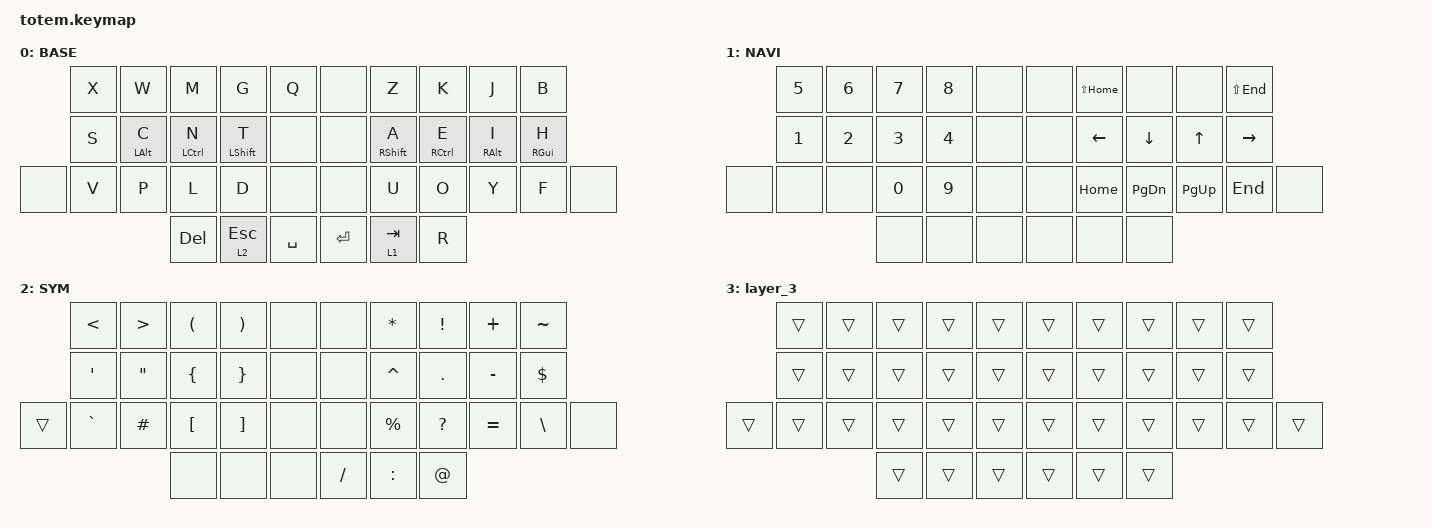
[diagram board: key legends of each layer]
//
//                                                        ▀▀▀▀▀     ▀▀▀▀▀          ▀▀█▀▀
//                                                        ▄▀▀▀▄  ▄  ▄▀▀▀▄  ▄  ▄▀▀▀▄  █  ▄▀▀▀▄
//                                                        █   █  █  █   █  █  █   █  █  █   █
//                                                         ▀▀▀   █   ▀▀▀   █   ▀▀▀   ▀   ▀▀▀
//                                                               █      ▄▄▄█▄▄▄    █   █  
//                                                               ▀      █  █  █     █▄█
//                                                             ▀▀▀▀▀    █  █  █      ▀
//                                                                      ▀  ▀  ▀
//
// ▄▄▄▄▄▄▄▄▄▄▄▄▄▄▄▄▄▄▄▄▄▄▄▄▄▄▄▄▄▄▄▄▄▄▄▄▄▄▄▄▄▄▄▄▄▄▄▄▄▄▄▄▄▄▄▄▄▄▄▄▄▄▄▄▄▄▄▄▄▄▄▄▄▄▄▄▄▄▄▄▄▄▄▄▄▄▄▄▄▄▄▄▄▄▄▄▄▄▄▄▄▄▄▄▄▄▄▄▄▄▄▄▄▄▄▄▄▄▄▄▄▄▄▄▄▄▄▄▄▄▄▄▄▄▄▄▄▄▄▄▄▄▄▄▄▄▄▄▄

#include <behaviors.dtsi>
#include <dt-bindings/zmk/keys.h>

#define BASE 0
#define NAV  1
#define SYM  2
#define ADJ  3
#define TVP1 4
#define TVP2 5

&mt {
    quick-tap-ms = <100>;
    global-quick-tap;
    flavor = "tap-preferred";
    tapping-term-ms = <170>;
};

/ {
    combos {
        compatible = "zmk,combos";

        combo_esc {
            timeout-ms = <50>;
            key-positions = <0 1>;
            bindings = <&kp ESC>;
        };

        combo_tvp {
            timeout-ms = <100>;
            key-positions = <11 12 13>;
            bindings = <&tog 0>;
        };
    };

    macros {
        gif: gif {
            label = "giphy";
            compatible = "zmk,behavior-macro";
            #binding-cells = <0>;
            bindings =
                <&macro_press>,
                <&kp LSHFT>,
                <&macro_tap>,
                <&kp N2>,
                <&macro_release>,
                <&kp LSHFT>,
                <&macro_tap>,
                <&kp G &kp I &kp F>;
        };
    };

    keymap {
        compatible = "zmk,keymap";

        // ▄▄▄▄▄▄▄▄▄▄▄▄▄▄▄▄▄▄▄▄▄▄▄▄▄▄▄▄▄▄▄▄▄▄▄▄▄▄▄▄▄▄▄▄▄▄▄▄▄▄▄▄▄▄▄▄▄▄▄▄▄▄▄▄▄▄▄▄▄▄▄▄▄▄▄▄▄▄▄▄▄▄▄▄▄▄▄▄▄▄▄▄▄▄▄▄▄▄▄▄▄▄▄▄▄▄▄▄▄▄▄▄▄▄▄▄▄▄▄▄▄▄▄▄▄▄▄▄▄▄▄▄▄▄▄▄▄▄▄▄▄▄▄▄▄▄▄▄▄

        base_layer {
            // ┏━━━━━━━━━━━━━━━━━━━━━━━━━━━━━━━━━━━━━━━┓

            label = "BASE";

            // ┗━━━━━━━━━━━━━━━━━━━━━━━━━━━━━━━━━━━━━━━┛
            //             ┏━━━━━━━━━━━┳━━━━━━━━━━━┳━━━━━━━━━━━┳━━━━━━━━━━━┳━━━━━━━━━━━┓   ┏━━━━━━━━━━━┳━━━━━━━━━━━┳━━━━━━━━━━━┳━━━━━━━━━━━┳━━━━━━━━━━━┓
            //             ┃     Q     ┃     W     ┃     F     ┃     P     ┃     G     ┃   ┃     J     ┃     L     ┃     U     ┃     Y     ┃     ;     ┃
            //             ┣━━━━━━━━━━━╋━━━━━━━━━━━╋━━━━━━━━━━━╋━━━━━━━━━━━╋━━━━━━━━━━━┫   ┣━━━━━━━━━━━╋━━━━━━━━━━━╋━━━━━━━━━━━╋━━━━━━━━━━━╋━━━━━━━━━━━┫
            //             ┃     A     ┃     R     ┃     S     ┃     T     ┃     D     ┃   ┃     H     ┃     N     ┃     E     ┃     I     ┃     O     ┃
            // ┏━━━━━━━━━━━╋━━━━━━━━━━━╋━━━━━━━━━━━╋━━━━━━━━━━━╋━━━━━━━━━━━╋━━━━━━━━━━━┫   ┣━━━━━━━━━━━╋━━━━━━━━━━━╋━━━━━━━━━━━╋━━━━━━━━━━━╋━━━━━━━━━━━╋━━━━━━━━━━━┓
            // ┃     Q     ┃     Z     ┃     X     ┃     C     ┃     V     ┃     B     ┃   ┃     K     ┃     M     ┃     ,     ┃     .     ┃     /     ┃     \     ┃
            // ┗━━━━━━━━━━━┻━━━━━━━━━━━┻━━━━━━━━━━━╋━━━━━━━━━━━╋━━━━━━━━━━━╋━━━━━━━━━━━┫   ┣━━━━━━━━━━━╋━━━━━━━━━━━╋━━━━━━━━━━━╋━━━━━━━━━━━┻━━━━━━━━━━━┻━━━━━━━━━━━┛
            //                                     ┃    DEL    ┃    TAB    ┃    SPC    ┃   ┃   ENTER   ┃           ┃   BSPC    ┃
            //                                     ┗━━━━━━━━━━━┻━━━━━━━━━━━┻━━━━━━━━━━━┛   ┗━━━━━━━━━━━┻━━━━━━━━━━━┻━━━━━━━━━━━┛

            bindings = <
       &kp X  &kp W       &kp M        &kp G        &kp Q        &none    &kp Z        &kp K        &kp J       &kp B
       &kp S  &mt LALT C  &mt LCTRL N  &mt LSHFT T  &none        &none    &mt RSHFT A  &mt RCTRL E  &mt RALT I  &mt RGUI H
&none  &kp V  &kp P       &kp L        &kp D        &none        &none    &kp U        &kp O        &kp Y       &kp F       &none
                          &kp DEL      &lt 2 ESC    &kp SPACE    &kp RET  &lt 1 TAB    &kp R
            >;
        };

        // ▄▄▄▄▄▄▄▄▄▄▄▄▄▄▄▄▄▄▄▄▄▄▄▄▄▄▄▄▄▄▄▄▄▄▄▄▄▄▄▄▄▄▄▄▄▄▄▄▄▄▄▄▄▄▄▄▄▄▄▄▄▄▄▄▄▄▄▄▄▄▄▄▄▄▄▄▄▄▄▄▄▄▄▄▄▄▄▄▄▄▄▄▄▄▄▄▄▄▄▄▄▄▄▄▄▄▄▄▄▄▄▄▄▄▄▄▄▄▄▄▄▄▄▄▄▄▄▄▄▄▄▄▄▄▄▄▄▄▄▄▄▄▄▄▄▄▄▄▄

        nav_layer {
            // ┏━━━━━━━━━━━━━━━━━━━━━━━━━━━━━━━━━━━━━━━┓

            label = "NAVI";

            // ┗━━━━━━━━━━━━━━━━━━━━━━━━━━━━━━━━━━━━━━━┛
            //             ┏━━━━━━━━━━━┳━━━━━━━━━━━┳━━━━━━━━━━━┳━━━━━━━━━━━┳━━━━━━━━━━━┓   ┏━━━━━━━━━━━┳━━━━━━━━━━━┳━━━━━━━━━━━┳━━━━━━━━━━━┳━━━━━━━━━━━┓
            //             ┃           ┃           ┃     UP    ┃           ┃     {     ┃   ┃     }     ┃     7     ┃     8     ┃     9     ┃     +     ┃
            //             ┣━━━━━━━━━━━╋━━━━━━━━━━━╋━━━━━━━━━━━╋━━━━━━━━━━━╋━━━━━━━━━━━┫   ┣━━━━━━━━━━━╋━━━━━━━━━━━╋━━━━━━━━━━━╋━━━━━━━━━━━╋━━━━━━━━━━━┫
            //             ┃   SHIFT   ┃   LEFT    ┃    DOWN   ┃   RIGHT   ┃     [     ┃   ┃     ]     ┃     4     ┃     5     ┃     6     ┃     -     ┃
            // ┏━━━━━━━━━━━╋━━━━━━━━━━━╋━━━━━━━━━━━╋━━━━━━━━━━━╋━━━━━━━━━━━╋━━━━━━━━━━━┫   ┣━━━━━━━━━━━╋━━━━━━━━━━━╋━━━━━━━━━━━╋━━━━━━━━━━━╋━━━━━━━━━━━╋━━━━━━━━━━━┓
            // ┃           ┃           ┃   P UP    ┃  C LOCK   ┃  P DOWN   ┃     (     ┃   ┃     )     ┃     1     ┃     2     ┃     3     ┃     *     ┃           ┃
            // ┗━━━━━━━━━━━┻━━━━━━━━━━━┻━━━━━━━━━━━╋━━━━━━━━━━━╋━━━━━━━━━━━╋━━━━━━━━━━━┫   ┣━━━━━━━━━━━╋━━━━━━━━━━━╋━━━━━━━━━━━╋━━━━━━━━━━━┻━━━━━━━━━━━┻━━━━━━━━━━━┛
            //                                     ┃           ┃    TAB    ┃    SPC    ┃   ┃    DEL    ┃     0     ┃           ┃
            //                                     ┗━━━━━━━━━━━┻━━━━━━━━━━━┻━━━━━━━━━━━┛   ┗━━━━━━━━━━━┻━━━━━━━━━━━┻━━━━━━━━━━━┛

            bindings = <
       &kp N5        &kp NUMBER_6  &kp N7        &kp N8        &none    &none  &kp LS(HOME)    &none          &none         &kp LS(END)
       &kp NUMBER_1  &kp NUMBER_2  &kp NUMBER_3  &kp NUMBER_4  &none    &none  &kp LEFT_ARROW  &kp DOWN       &kp UP_ARROW  &kp RIGHT
&none  &none         &none         &kp N0        &kp N9        &none    &none  &kp HOME        &kp PAGE_DOWN  &kp PAGE_UP   &kp END      &none
                                   &none         &none         &none    &none  &none           &none
            >;
        };

        // ▄▄▄▄▄▄▄▄▄▄▄▄▄▄▄▄▄▄▄▄▄▄▄▄▄▄▄▄▄▄▄▄▄▄▄▄▄▄▄▄▄▄▄▄▄▄▄▄▄▄▄▄▄▄▄▄▄▄▄▄▄▄▄▄▄▄▄▄▄▄▄▄▄▄▄▄▄▄▄▄▄▄▄▄▄▄▄▄▄▄▄▄▄▄▄▄▄▄▄▄▄▄▄▄▄▄▄▄▄▄▄▄▄▄▄▄▄▄▄▄▄▄▄▄▄▄▄▄▄▄▄▄▄▄▄▄▄▄▄▄▄▄▄▄▄▄▄▄▄

        sim_layer {
            // ┏━━━━━━━━━━━━━━━━━━━━━━━━━━━━━━━━━━━━━━━┓

            label = "SYM";

            // ┗━━━━━━━━━━━━━━━━━━━━━━━━━━━━━━━━━━━━━━━┛
            //             ┏━━━━━━━━━━━┳━━━━━━━━━━━┳━━━━━━━━━━━┳━━━━━━━━━━━┳━━━━━━━━━━━┓   ┏━━━━━━━━━━━┳━━━━━━━━━━━┳━━━━━━━━━━━┳━━━━━━━━━━━┳━━━━━━━━━━━┓
            //             ┃     !     ┃     @     ┃     #     ┃     $     ┃     %     ┃   ┃     ˆ     ┃     &     ┃     Ü     ┃     '     ┃     "     ┃
            //             ┣━━━━━━━━━━━╋━━━━━━━━━━━╋━━━━━━━━━━━╋━━━━━━━━━━━╋━━━━━━━━━━━┫   ┣━━━━━━━━━━━╋━━━━━━━━━━━╋━━━━━━━━━━━╋━━━━━━━━━━━╋━━━━━━━━━━━┫
            //             ┃     Ä     ┃           ┃    SZ     ┃           ┃           ┃   ┃   MUTE    ┃   YEN     ┃   EURO    ┃  POUND    ┃     Ö     ┃
            // ┏━━━━━━━━━━━╋━━━━━━━━━━━╋━━━━━━━━━━━╋━━━━━━━━━━━╋━━━━━━━━━━━╋━━━━━━━━━━━┫   ┣━━━━━━━━━━━╋━━━━━━━━━━━╋━━━━━━━━━━━╋━━━━━━━━━━━╋━━━━━━━━━━━╋━━━━━━━━━━━┓
            // ┃           ┃  EMAIL1   ┃  EMAIL2   ┃           ┃           ┃           ┃   ┃   VOL-    ┃   VOL+    ┃   LAST    ┃   NEXT    ┃     \     ┃           ┃
            // ┗━━━━━━━━━━━┻━━━━━━━━━━━┻━━━━━━━━━━━╋━━━━━━━━━━━╋━━━━━━━━━━━╋━━━━━━━━━━━┫   ┣━━━━━━━━━━━╋━━━━━━━━━━━╋━━━━━━━━━━━╋━━━━━━━━━━━┻━━━━━━━━━━━┻━━━━━━━━━━━┛
            //                                     ┃           ┃    GIF    ┃    ADJ    ┃   ┃           ┃           ┃           ┃
            //                                     ┗━━━━━━━━━━━┻━━━━━━━━━━━┻━━━━━━━━━━━┛   ┗━━━━━━━━━━━┻━━━━━━━━━━━┻━━━━━━━━━━━┛

            bindings = <
        &kp LESS_THAN     &kp GREATER_THAN   &kp LEFT_PARENTHESIS  &kp RIGHT_PARENTHESIS  &none    &none      &kp STAR     &kp EXCL      &kp PLUS   &kp TILDE
        &kp SINGLE_QUOTE  &kp DOUBLE_QUOTES  &kp LEFT_BRACE        &kp RIGHT_BRACE        &none    &none      &kp CARET    &kp PERIOD    &kp MINUS  &kp DOLLAR
&trans  &kp GRAVE         &kp HASH           &kp LEFT_BRACKET      &kp RIGHT_BRACKET      &none    &none      &kp PERCENT  &kp QUESTION  &kp EQUAL  &kp BSLH    &none
                                             &none                 &none                  &none    &kp SLASH  &kp COLON    &kp AT
            >;
        };

        layer_3 {
            bindings = <
        &trans  &trans  &trans  &trans  &trans    &trans  &trans  &trans  &trans  &trans
        &trans  &trans  &trans  &trans  &trans    &trans  &trans  &trans  &trans  &trans
&trans  &trans  &trans  &trans  &trans  &trans    &trans  &trans  &trans  &trans  &trans  &trans
                        &trans  &trans  &trans    &trans  &trans  &trans
            >;
        };

        // ▄▄▄▄▄▄▄▄▄▄▄▄▄▄▄▄▄▄▄▄▄▄▄▄▄▄▄▄▄▄▄▄▄▄▄▄▄▄▄▄▄▄▄▄▄▄▄▄▄▄▄▄▄▄▄▄▄▄▄▄▄▄▄▄▄▄▄▄▄▄▄▄▄▄▄▄▄▄▄▄▄▄▄▄▄▄▄▄▄▄▄▄▄▄▄▄▄▄▄▄▄▄▄▄▄▄▄▄▄▄▄▄▄▄▄▄▄▄▄▄▄▄▄▄▄▄▄▄▄▄▄▄▄▄▄▄▄▄▄▄▄▄▄▄▄▄▄▄▄
        // ▄▄▄▄▄▄▄▄▄▄▄▄▄▄▄▄▄▄▄▄▄▄▄▄▄▄▄▄▄▄▄▄▄▄▄▄▄▄▄▄▄▄▄▄▄▄▄▄▄▄▄▄▄▄▄▄▄▄▄▄▄▄▄▄▄▄▄▄▄▄▄▄▄▄▄▄▄▄▄▄▄▄▄▄▄▄▄▄▄▄▄▄▄▄▄▄▄▄▄▄▄▄▄▄▄▄▄▄▄▄▄▄▄▄▄▄▄▄▄▄▄▄▄▄▄▄▄▄▄▄▄▄▄▄▄▄▄▄▄▄▄▄▄▄▄▄▄▄▄
        // ▄▄▄▄▄▄▄▄▄▄▄▄▄▄▄▄▄▄▄▄▄▄▄▄▄▄▄▄▄▄▄▄▄▄▄▄▄▄▄▄▄▄▄▄▄▄▄▄▄▄▄▄▄▄▄▄▄▄▄▄▄▄▄▄▄▄▄▄▄▄▄▄▄▄▄▄▄▄▄▄▄▄▄▄▄▄▄▄▄▄▄▄▄▄▄▄▄▄▄▄▄▄▄▄▄▄▄▄▄▄▄▄▄▄▄▄▄▄▄▄▄▄▄▄▄▄▄▄▄▄▄▄▄▄▄▄▄▄▄▄▄▄▄▄▄▄▄▄▄
    };
};
